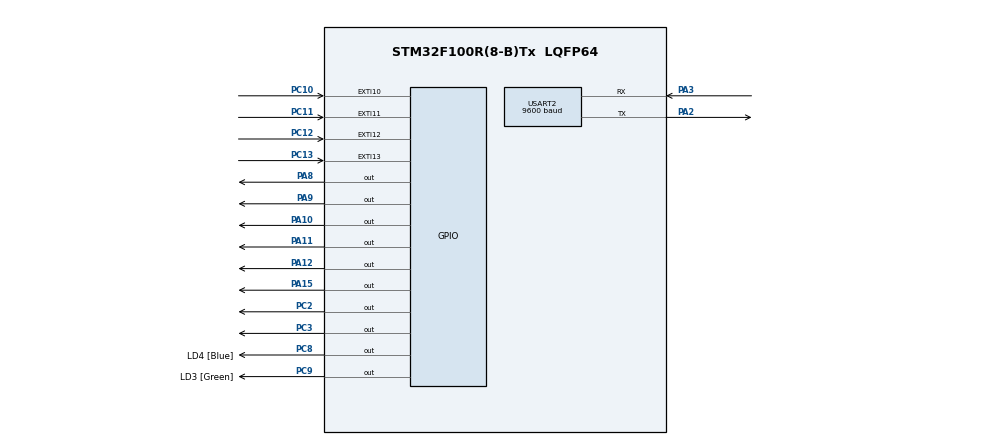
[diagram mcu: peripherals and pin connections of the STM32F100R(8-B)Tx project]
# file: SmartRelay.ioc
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Mcu.Family=STM32F1
Mcu.Name=STM32F100R(8-B)Tx
Mcu.Package=LQFP64
NVIC.EXTI15_10_IRQn=true\:0\:0\:false\:false\:true\:true\:true
NVIC.PriorityGroup=NVIC_PRIORITYGROUP_4
NVIC.TIM4_IRQn=true\:0\:0\:false\:false\:true\:true\:true
NVIC.TIM7_IRQn=true\:0\:0\:false\:false\:true\:true\:true
NVIC.USART2_IRQn=true\:0\:0\:false\:false\:true\:true\:true
PA10.Signal=GPIO_Output
PA11.Signal=GPIO_Output
PA12.Signal=GPIO_Output
PA13.GPIO_Label=TMS_SWDIO
PA13.Mode=Serial_Wire
PA13.Signal=SYS_JTMS-SWDIO
PA14.GPIO_Label=TCK_SWCLK
PA14.Mode=Serial_Wire
PA14.Signal=SYS_JTCK-SWCLK
PA15.Signal=GPIO_Output
PA2.Mode=Asynchronous
PA2.Signal=USART2_TX
PA3.Mode=Asynchronous
PA3.Signal=USART2_RX
PA8.Signal=GPIO_Output
PA9.Signal=GPIO_Output
PC10.GPIO_PuPd=GPIO_PULLDOWN
PC10.Signal=GPXTI10
PC11.GPIO_PuPd=GPIO_PULLDOWN
PC11.Signal=GPXTI11
PC12.GPIO_PuPd=GPIO_PULLDOWN
PC12.Signal=GPXTI12
PC13-TAMPER-RTC.GPIO_PuPd=GPIO_PULLDOWN
PC13-TAMPER-RTC.Signal=GPXTI13
PC14-OSC32_IN.Mode=LSE-External-Oscillator
PC14-OSC32_IN.Signal=RCC_OSC32_IN
PC15-OSC32_OUT.Mode=LSE-External-Oscillator
PC15-OSC32_OUT.Signal=RCC_OSC32_OUT
PC2.Signal=GPIO_Output
PC3.Signal=GPIO_Output
PC8.GPIO_Label=LD4 [Blue]
PC8.Signal=GPIO_Output
PC9.GPIO_Label=LD3 [Green]
PC9.Signal=GPIO_Output
PD0-OSC_IN.Mode=HSE-External-Oscillator
PD0-OSC_IN.Signal=RCC_OSC_IN
PD1-OSC_OUT.Mode=HSE-External-Oscillator
PD1-OSC_OUT.Signal=RCC_OSC_OUT
ProjectManager.HeapSize=0x200
ProjectManager.StackSize=0x400
ProjectManager.TargetToolchain=TrueSTUDIO
RCC.AHBFreq_Value=8000000
RCC.APB1Freq_Value=8000000
RCC.APB1TimFreq_Value=8000000
RCC.APB2Freq_Value=8000000
RCC.APB2TimFreq_Value=8000000
RCC.HCLKFreq_Value=8000000
TIM4.Channel-Output\ Compare1\ No\ Output=TIM_CHANNEL_1
TIM4.Channel-PWM\ Generation1\ CH1=TIM_CHANNEL_1
TIM4.Channel-PWM\ Generation2\ CH2=TIM_CHANNEL_2
TIM4.Channel-PWM\ Generation3\ CH3=TIM_CHANNEL_3
TIM4.Channel-PWM\ Generation4\ CH4=TIM_CHANNEL_4
TIM4.CounterMode=TIM_COUNTERMODE_UP
TIM7.Period=0
TIM7.Prescaler=0
USART2.BaudRate=9600
USART2.VirtualMode=VM_ASYNC
VP_TIM4_VS_no_output1.Mode=Output Compare1 No Output
VP_TIM7_VS_ClockSourceINT.Mode=Enable_Timer
board=STM32VLDISCOVERY

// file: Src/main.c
/* USER CODE BEGIN Header */
/**
  ******************************************************************************
  * @file           : main.c
  * @brief          : Main program body
  ******************************************************************************
  * @attention
  *
  * <h2><center>&copy; Copyright (c) 2019 STMicroelectronics.
  * All rights reserved.</center></h2>
  *
  * This software component is licensed by ST under BSD 3-Clause license,
  * the "License"; You may not use this file except in compliance with the
  * License. You may obtain a copy of the License at:
  *                        opensource.org/licenses/BSD-3-Clause
  *
  ******************************************************************************
  */
/* USER CODE END Header */

#include "main.h"

TIM_HandleTypeDef htim4;
TIM_HandleTypeDef htim7;

UART_HandleTypeDef huart2;

/* USER CODE BEGIN PV */
unsigned char currentTimer = 0;
unsigned char currectTimerState = 0;
unsigned char currectTimerVal = 0;

unsigned char timerCount = 4;
unsigned char timer[2][4][4] = {{{0,0,0,8},{0,0,5,0},{0,0,0,0},{0,0,0,0}},{{0,0,0,16},{0,0,3,0},{0,0,0,0},{0,0,0,0}}};

unsigned int timerCounter[4] = {0,0,0,0};
unsigned int timerPin[4] = {GPIO_PIN_3,GPIO_PIN_2, 0, 0};

uint8_t tx_buff[] = {0, 1, 2, 3, 4, 5, 6, 7, 8, 9};
uint8_t rx_buff[10],rx_data[2];
uint8_t  Rx_indx = 0;
/* USER CODE END PV */

void SystemClock_Config(void);
static void MX_GPIO_Init(void);
static void MX_TIM4_Init(void);
static void MX_TIM7_Init(void);
static void MX_USART2_UART_Init(void);

int main(void)
{

  /* MCU Configuration--------------------------------------------------------*/

  /* Reset of all peripherals, Initializes the Flash interface and the Systick. */
  HAL_Init();

  /* Configure the system clock */
  SystemClock_Config();

  /* Initialize all configured peripherals */
  MX_GPIO_Init();
  MX_TIM4_Init();
  MX_TIM7_Init();
  MX_USART2_UART_Init();
  /* USER CODE BEGIN 2 */
  HAL_GPIO_WritePin(GPIOC,GPIO_PIN_3,0);//set low to keep current going through NC(Normally closed)
  HAL_GPIO_WritePin(GPIOC,GPIO_PIN_2,0);//set low to keep current going through NC(Normally closed)

  HAL_TIM_Base_Start_IT(&htim7);
  HAL_TIM_Base_Start_IT(&htim4);

  LiquidCrystal(GPIOA, GPIO_PIN_15, 0, GPIO_PIN_12, GPIO_PIN_11, GPIO_PIN_10, GPIO_PIN_9, GPIO_PIN_8);

  char str1[50],str2[50];
  displayChange = true;

  //HAL_UART_Receive_IT(&huart2,rx_data,1);
  //HAL_UART_Transmit_IT(&huart2,tx_buff,1);
  /* USER CODE END 2 */

  /* Infinite loop */
  while (1)
  {

    /* USER CODE BEGIN 3 */
	  if(displayChange)
	  {
		displayChange = false;
		//clear();

		setCursor(0, 0);
		int size1 = sprintf(str1, "- %1d %02u:%02u:%02u.%02u"
				, currentTimer
				, timer[0][currentTimer][3]
				, timer[0][currentTimer][2]
				, timer[0][currentTimer][1]
				, timer[0][currentTimer][0]);
		print(str1);

		setCursor(0, 1);
		int size2 = sprintf(str2, "+ %1d %02u:%02u:%02u.%02u"
				, currentTimer
				, timer[1][currentTimer][3]
				, timer[1][currentTimer][2]
				, timer[1][currentTimer][1]
				, timer[1][currentTimer][0]);
		print(str2);
		//print(rx_buff);

		setCursor((currectTimerState? size2 : size1) - 3*(currentTimerVal) - 1, currectTimerState);
		blink();
		str1[size1++] = '\r';
		str1[size1++] = '\n';
		HAL_UART_Transmit(&huart2,str1,size1,1000);

		str2[size2++] = '\r';
		str2[size2++] = '\n';
		HAL_UART_Transmit(&huart2,str2,size2,1000);
	  }

	  asm ("");
  }
  /* USER CODE END 3 */
}

void SystemClock_Config(void)
{
  RCC_OscInitTypeDef RCC_OscInitStruct = {0};
  RCC_ClkInitTypeDef RCC_ClkInitStruct = {0};

  /** Initializes the CPU, AHB and APB busses clocks
  */
  RCC_OscInitStruct.OscillatorType = RCC_OSCILLATORTYPE_HSI;
  RCC_OscInitStruct.HSIState = RCC_HSI_ON;
  RCC_OscInitStruct.HSICalibrationValue = RCC_HSICALIBRATION_DEFAULT;
  RCC_OscInitStruct.PLL.PLLState = RCC_PLL_NONE;
  if (HAL_RCC_OscConfig(&RCC_OscInitStruct) != HAL_OK)
  {
    Error_Handler();
  }
  /** Initializes the CPU, AHB and APB busses clocks
  */
  RCC_ClkInitStruct.ClockType = RCC_CLOCKTYPE_HCLK|RCC_CLOCKTYPE_SYSCLK
                              |RCC_CLOCKTYPE_PCLK1|RCC_CLOCKTYPE_PCLK2;
  RCC_ClkInitStruct.SYSCLKSource = RCC_SYSCLKSOURCE_HSI;
  RCC_ClkInitStruct.AHBCLKDivider = RCC_SYSCLK_DIV1;
  RCC_ClkInitStruct.APB1CLKDivider = RCC_HCLK_DIV1;
  RCC_ClkInitStruct.APB2CLKDivider = RCC_HCLK_DIV1;

  if (HAL_RCC_ClockConfig(&RCC_ClkInitStruct, FLASH_LATENCY_0) != HAL_OK)
  {
    Error_Handler();
  }
}

static void MX_TIM4_Init(void)
{

  TIM_MasterConfigTypeDef sMasterConfig = {0};
  TIM_OC_InitTypeDef sConfigOC = {0};

  htim4.Instance = TIM4;
  htim4.Init.Prescaler = 0;
  htim4.Init.CounterMode = TIM_COUNTERMODE_UP;
  htim4.Init.Period = 0;
  htim4.Init.ClockDivision = TIM_CLOCKDIVISION_DIV1;
  htim4.Init.AutoReloadPreload = TIM_AUTORELOAD_PRELOAD_DISABLE;
  if (HAL_TIM_OC_Init(&htim4) != HAL_OK)
  {
    Error_Handler();
  }
  sMasterConfig.MasterOutputTrigger = TIM_TRGO_RESET;
  sMasterConfig.MasterSlaveMode = TIM_MASTERSLAVEMODE_DISABLE;
  if (HAL_TIMEx_MasterConfigSynchronization(&htim4, &sMasterConfig) != HAL_OK)
  {
    Error_Handler();
  }
  sConfigOC.OCMode = TIM_OCMODE_TIMING;
  sConfigOC.Pulse = 0;
  sConfigOC.OCPolarity = TIM_OCPOLARITY_HIGH;
  sConfigOC.OCFastMode = TIM_OCFAST_DISABLE;
  if (HAL_TIM_OC_ConfigChannel(&htim4, &sConfigOC, TIM_CHANNEL_1) != HAL_OK)
  {
    Error_Handler();
  }

}

static void MX_TIM7_Init(void)
{

  TIM_MasterConfigTypeDef sMasterConfig = {0};

  /* USER CODE BEGIN TIM7_Init 1 */
  int period = GetDesiredPeriodandPrescaler(.01,8000000);
  int prescaler = period;

  /* USER CODE END TIM7_Init 1 */
  htim7.Instance = TIM7;
  htim7.Init.Prescaler = prescaler;
  htim7.Init.CounterMode = TIM_COUNTERMODE_UP;
  htim7.Init.Period = period;
  htim7.Init.AutoReloadPreload = TIM_AUTORELOAD_PRELOAD_DISABLE;
  if (HAL_TIM_Base_Init(&htim7) != HAL_OK)
  {
    Error_Handler();
  }
  sMasterConfig.MasterOutputTrigger = TIM_TRGO_RESET;
  sMasterConfig.MasterSlaveMode = TIM_MASTERSLAVEMODE_DISABLE;
  if (HAL_TIMEx_MasterConfigSynchronization(&htim7, &sMasterConfig) != HAL_OK)
  {
    Error_Handler();
  }

}

static void MX_USART2_UART_Init(void)
{

  huart2.Instance = USART2;
  huart2.Init.BaudRate = 9600;
  huart2.Init.WordLength = UART_WORDLENGTH_8B;
  huart2.Init.StopBits = UART_STOPBITS_1;
  huart2.Init.Parity = UART_PARITY_NONE;
  huart2.Init.Mode = UART_MODE_TX_RX;
  huart2.Init.HwFlowCtl = UART_HWCONTROL_NONE;
  huart2.Init.OverSampling = UART_OVERSAMPLING_16;
  if (HAL_UART_Init(&huart2) != HAL_OK)
  {
    Error_Handler();
  }

}

static void MX_GPIO_Init(void)
{
  GPIO_InitTypeDef GPIO_InitStruct = {0};

  /* GPIO Ports Clock Enable */
  __HAL_RCC_GPIOC_CLK_ENABLE();
  __HAL_RCC_GPIOD_CLK_ENABLE();
  __HAL_RCC_GPIOA_CLK_ENABLE();

  /*Configure GPIO pin Output Level */
  HAL_GPIO_WritePin(GPIOC, GPIO_PIN_2|GPIO_PIN_3|LD4_Pin|LD3_Pin, GPIO_PIN_RESET);

  /*Configure GPIO pin Output Level */
  HAL_GPIO_WritePin(GPIOA, GPIO_PIN_8|GPIO_PIN_9|GPIO_PIN_10|GPIO_PIN_11
                          |GPIO_PIN_12|GPIO_PIN_15, GPIO_PIN_RESET);

  /*Configure GPIO pins : PC13 PC10 PC11 PC12 */
  GPIO_InitStruct.Pin = GPIO_PIN_13|GPIO_PIN_10|GPIO_PIN_11|GPIO_PIN_12;
  GPIO_InitStruct.Mode = GPIO_MODE_IT_RISING;
  GPIO_InitStruct.Pull = GPIO_PULLDOWN;
  HAL_GPIO_Init(GPIOC, &GPIO_InitStruct);

  /*Configure GPIO pins : PC2 PC3 LD4_Pin LD3_Pin */
  GPIO_InitStruct.Pin = GPIO_PIN_2|GPIO_PIN_3|LD4_Pin|LD3_Pin;
  GPIO_InitStruct.Mode = GPIO_MODE_OUTPUT_PP;
  GPIO_InitStruct.Pull = GPIO_NOPULL;
  GPIO_InitStruct.Speed = GPIO_SPEED_FREQ_LOW;
  HAL_GPIO_Init(GPIOC, &GPIO_InitStruct);

  /*Configure GPIO pins : PA8 PA9 PA10 PA11
                           PA12 PA15 */
  GPIO_InitStruct.Pin = GPIO_PIN_8|GPIO_PIN_9|GPIO_PIN_10|GPIO_PIN_11
                          |GPIO_PIN_12|GPIO_PIN_15;
  GPIO_InitStruct.Mode = GPIO_MODE_OUTPUT_PP;
  GPIO_InitStruct.Pull = GPIO_NOPULL;
  GPIO_InitStruct.Speed = GPIO_SPEED_FREQ_LOW;
  HAL_GPIO_Init(GPIOA, &GPIO_InitStruct);

  /* EXTI interrupt init*/
  HAL_NVIC_SetPriority(EXTI15_10_IRQn, 0, 0);
  HAL_NVIC_EnableIRQ(EXTI15_10_IRQn);

}

void Error_Handler(void)
{
}

/************************ (C) COPYRIGHT STMicroelectronics *****END OF FILE****/
